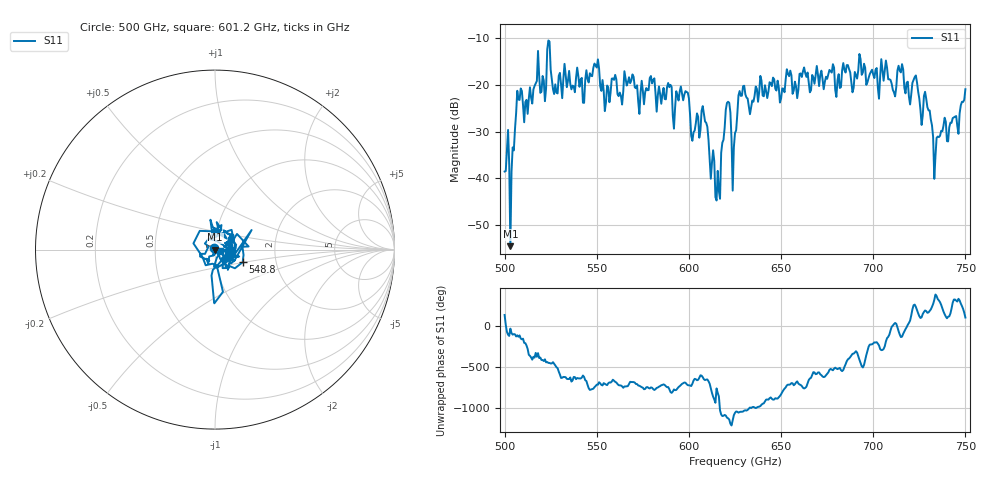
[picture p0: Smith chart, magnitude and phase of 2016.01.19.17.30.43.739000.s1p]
!Created with skrf (http://scikit-rf.org).
# GHz S RI R 50.0
!freq ReS11 ImS11
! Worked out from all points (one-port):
!   401 points, 500 GHz to 750 GHz, reference 50 ohm
!   lowest |S11| = -54.5 dB at 503.1 GHz (marker M1), VSWR 1.00, Z = 50.2 - j0.107 ohm
!   |S11| at or under -10 dB: start of sweep to end of sweep
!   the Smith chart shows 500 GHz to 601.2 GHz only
!   S11 on the Smith chart (normalised r, x): 500 GHz: 0.98, +0.02; 548.8 GHz: 1.35, -0.20; 601.2 GHz: 1.06, -0.01
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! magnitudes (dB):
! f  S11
! 500 GHz  -38.5
! 503.1 GHz  -54.5
! 508.1 GHz  -23.2
! 521.2 GHz  -19.0
! 524.4 GHz  -10.7
! 527.5 GHz  -19.9
! 531.2 GHz  -22.8
! 541.9 GHz  -18.5
! 548.8 GHz  -15.4
! 562.5 GHz  -21.6
! 568.8 GHz  -19.0
! 593.8 GHz  -22.2
! 598.8 GHz  -21.5
! 601.2 GHz  -30.9
! 608.1 GHz  -26.1
! 615.6 GHz  -38.4
! 620.6 GHz  -23.9
! 625 GHz  -30.3
! 628.8 GHz  -22.3
! 656.2 GHz  -21.9
! 687.5 GHz  -17.3
! 705.6 GHz  -19.1
! 711.2 GHz  -21.6
! 715 GHz  -17.3
! 718.8 GHz  -19.3
! 728.8 GHz  -23.0
! 733.8 GHz  -35.3
! 750 GHz  -20.9
